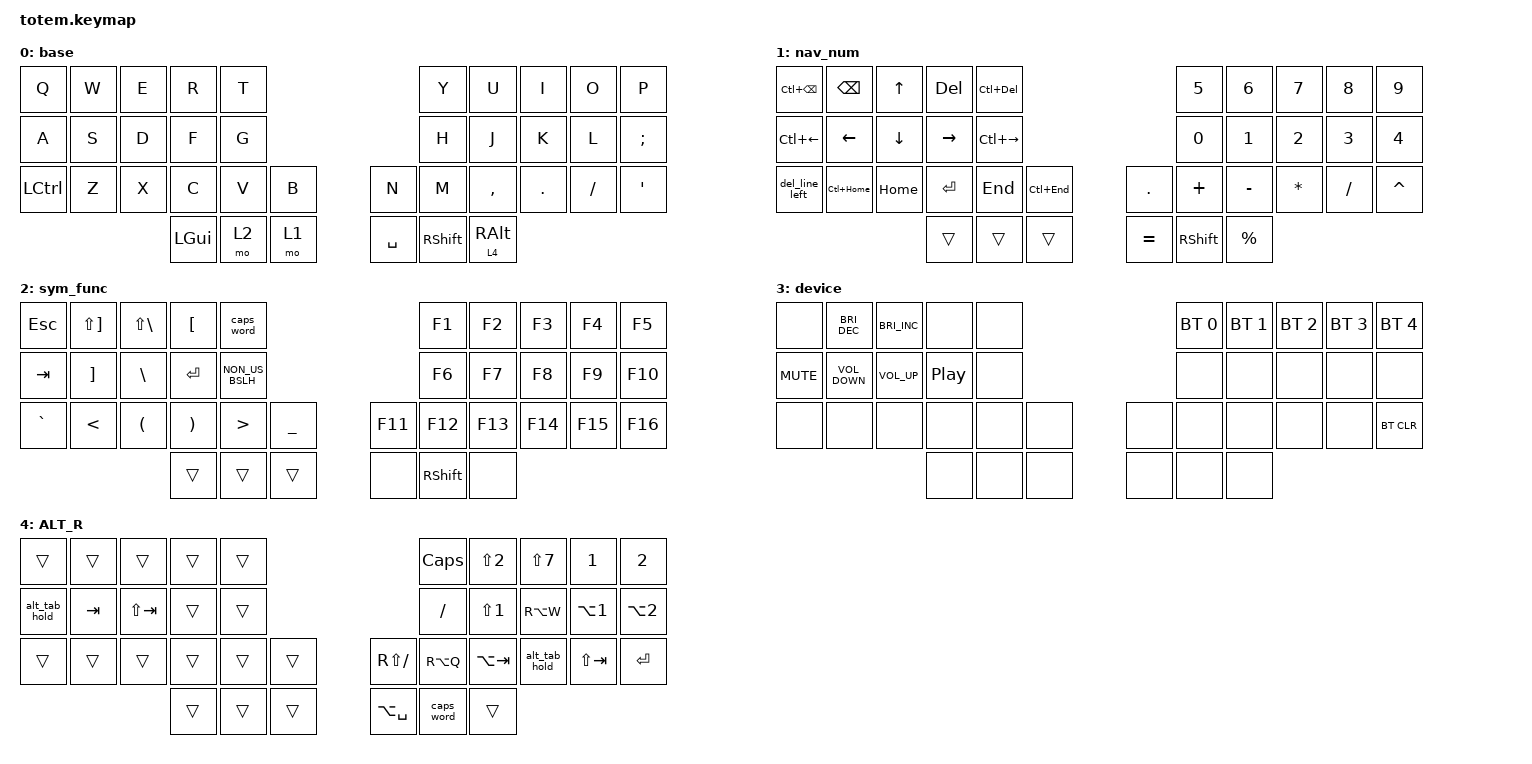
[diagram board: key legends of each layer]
#include <behaviors.dtsi>
#include <dt-bindings/zmk/bt.h>
#include <dt-bindings/zmk/keys.h>

/ {
    macros {
        del_line_left: del_line_left {
            compatible = "zmk,behavior-macro";
            #binding-cells = <0>;
            wait-ms = <40>;
            tap-ms = <40>;
            bindings = <&kp LS(HOME) &kp BACKSPACE>;
        };

        alt_tab_hold: alt_tab_hold {
            compatible = "zmk,behavior-macro";
            #binding-cells = <0>;
            wait-ms = <40>;
            tap-ms = <40>;
            bindings =
                <&macro_press>,
                <&kp LALT>,
                <&macro_tap>,
                <&kp TAB>,
                <&macro_pause_for_release>,
                <&macro_release>,
                <&kp LALT>;
        };
    };

    keymap {
        compatible = "zmk,keymap";

        base {
            display-name = "base";
            bindings = <
&kp Q      &kp W  &kp E  &kp R      &kp T            &kp Y            &kp U  &kp I  &kp O      &kp P
&kp A      &kp S  &kp D  &kp F      &kp G            &kp H            &kp J  &kp K  &kp L      &kp SEMI
&kp LCTRL  &kp Z  &kp X  &kp C      &kp V            &kp B            &kp N  &kp M  &kp COMMA  &kp DOT   &kp FSLH  &kp APOS
&kp LGUI   &mo 2  &mo 1  &kp SPACE  &kp RIGHT_SHIFT  &lt 4 RIGHT_ALT
            >;
        };

        nav_num {
            display-name = "nav_num";
            bindings = <
&kp LC(BACKSPACE)   &kp BACKSPACE  &kp UP    &kp DELETE  &kp LC(DELETE)   &kp N5       &kp N6      &kp N7    &kp N8     &kp N9
&kp LC(LEFT_ARROW)  &kp LEFT       &kp DOWN  &kp RIGHT   &kp LC(RIGHT)    &kp N0       &kp N1      &kp N2    &kp N3     &kp N4
&del_line_left      &kp LC(HOME)   &kp HOME  &kp ENTER   &kp END          &kp LC(END)  &kp PERIOD  &kp PLUS  &kp MINUS  &kp STAR  &kp FSLH  &kp CARET
&trans              &trans         &trans    &kp EQUAL   &kp RIGHT_SHIFT  &kp PERCENT
            >;
        };

        sym_func {
            display-name = "sym_func";
            bindings = <
&kp ESC    &kp LS(RBKT)   &kp LS(BSLH)          &kp LBKT               &caps_word        &kp F1          &kp F2   &kp F3   &kp F4   &kp F5
&kp TAB    &kp RBKT       &kp BSLH              &kp ENTER              &kp NON_US_BSLH   &kp F6          &kp F7   &kp F8   &kp F9   &kp F10
&kp GRAVE  &kp LESS_THAN  &kp LEFT_PARENTHESIS  &kp RIGHT_PARENTHESIS  &kp GREATER_THAN  &kp UNDERSCORE  &kp F11  &kp F12  &kp F13  &kp F14  &kp F15  &kp F16
&trans     &trans         &trans                &none                  &kp RIGHT_SHIFT   &none
            >;
        };

        device {
            display-name = "device";
            bindings = <
&none       &kp C_BRIGHTNESS_DEC  &kp C_BRIGHTNESS_INC  &none             &none  &bt BT_SEL 0  &bt BT_SEL 1  &bt BT_SEL 2  &bt BT_SEL 3  &bt BT_SEL 4
&kp K_MUTE  &kp C_VOLUME_DOWN     &kp C_VOLUME_UP       &kp C_PLAY_PAUSE  &none  &none         &none         &none         &none         &none
&none       &none                 &none                 &none             &none  &none         &none         &none         &none         &none         &none  &bt BT_CLR
&none       &none                 &none                 &none             &none  &none
            >;
        };

        alt_r {
            display-name = "ALT_R";
            bindings = <
&trans         &trans   &trans       &trans         &trans      &kp CAPS  &kp LS(N2)     &kp LS(N7)  &kp NUMBER_1      &kp NUMBER_2
&alt_tab_hold  &kp TAB  &kp LS(TAB)  &trans         &trans      &kp FSLH  &kp LS(N1)     &kp RA(W)   &kp LA(NUMBER_1)  &kp LA(NUMBER_2)
&trans         &trans   &trans       &trans         &trans      &trans    &kp RS(SLASH)  &kp RA(Q)   &kp LA(TAB)       &alt_tab_hold     &kp LS(TAB)  &kp ENTER
&trans         &trans   &trans       &kp LA(SPACE)  &caps_word  &trans
            >;
        };

        extra2 {
            display-name = "extra2";
            status = "reserved";
        };

        extra3 {
            display-name = "extra3";
            status = "reserved";
        };
    };

    conditional_layers {
        compatible = "zmk,conditional-layers";

        device {
            if-layers = <1 2>;
            then-layer = <3>;
        };
    };
};
